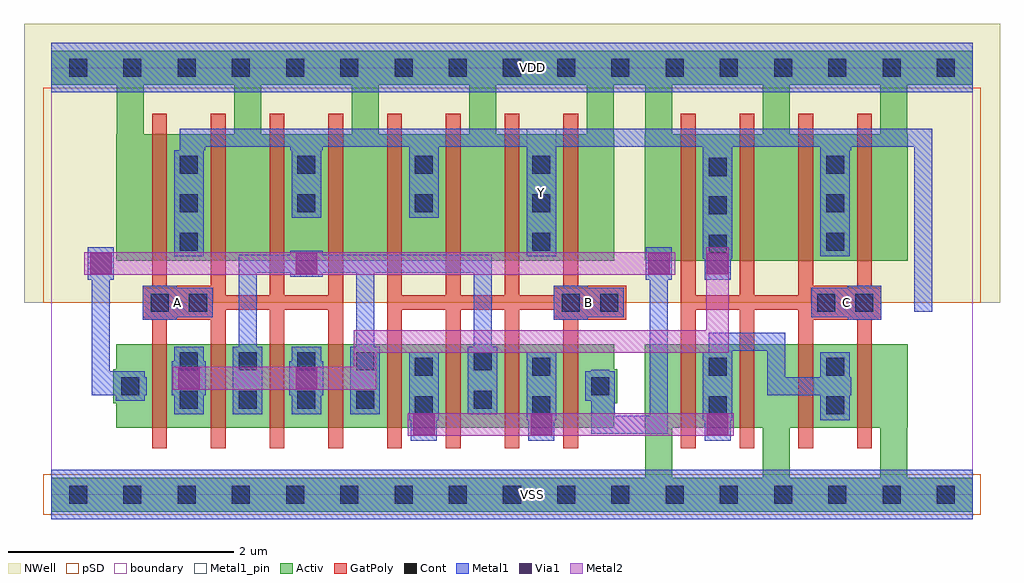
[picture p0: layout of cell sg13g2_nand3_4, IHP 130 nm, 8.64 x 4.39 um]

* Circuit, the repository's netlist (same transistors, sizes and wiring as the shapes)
.SUBCKT sg13g2_nand3_4 Y A B C VDD VSS
*.PININFO A:I B:I C:I Y:O VDD:B VSS:B
MP0 Y A VDD VDD sg13_lv_pmos w=4.48u l=130.00n ng=4
MP1 Y B VDD VDD sg13_lv_pmos w=4.48u l=130.00n ng=4
MP2 Y C VDD VDD sg13_lv_pmos w=4.48u l=130.00n ng=4
MN1 net2 B net3 VSS sg13_lv_nmos w=2.96u l=130.00n ng=4
MN2 net3 C VSS VSS sg13_lv_nmos w=2.96u l=130.00n ng=4
MN0 Y A net2 VSS sg13_lv_nmos w=2.96u l=130.00n ng=4
.ENDS

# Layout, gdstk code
import gdstk
lib = gdstk.Library(unit=1e-6, precision=1e-09)
def R(c, l, rs):  # rectangles x0, y0, x1, y1
    for r in rs: c.add(gdstk.rectangle(r[:2], r[2:], *l))
def A(c, l, x, y, w, h, nx, ny, dx, dy):  # array of equal rectangles
    R(c, l, [(x+i*dx, y+j*dy, x+i*dx+w, y+j*dy+h) for i in range(nx) for j in range(ny)])
def P(c, l, *ps):  # polygons
    for p in ps: c.add(gdstk.Polygon(p, *l))
Activ = (1, 0)
GatPoly = (5, 0)
Cont = (6, 0)
Metal1 = (8, 0)
Metal1_pin = (8, 2)
Metal2 = (10, 0)
pSD = (14, 0)
Via1 = (19, 0)
NWell = (31, 0)
boundary = (189, 4)

sg13g2_nand3_4 = lib.new_cell('sg13g2_nand3_4')
P(sg13g2_nand3_4, Activ, [(5.26,0.15),(0,0.15),(0,-0.15),(8.16,-0.15),(8.16,0.15),(5.26,0.15),(5.5,0.15),(5.5,0.59),(6.3,0.59),(6.3,0.15),(6.54,0.15),(6.54,0.59),(7.34,0.59),(7.34,0.15),(7.58,0.15),(7.58,0.59),(7.585,0.59),(7.585,1.33),(5.255,1.33),(5.255,0.59),(5.26,0.59)],
  [(5.5,3.63),(5.5,3.93),(3.94,3.93),(3.94,3.63),(3.94,3.93),(2.9,3.93),(2.9,3.63),(2.9,3.93),(1.86,3.93),(1.86,3.63),(1.86,3.93),(0.82,3.93),(0.82,3.63),(0.82,3.93),(0,3.93),(0,3.63),(0.58,3.63),(0.58,3.19),(0.575,3.19),(0.575,2.07),(0.82,2.07),(0.82,3.63),(1.62,3.63),(1.62,3.19),(0.82,3.19),(0.82,2.07),(1.86,2.07),(1.86,3.63),(2.66,3.63),(2.66,3.19),(1.86,3.19),(1.86,2.07),(2.9,2.07),(2.9,3.63),(3.7,3.63),(3.7,3.19),(2.9,3.19),(2.9,2.07),(3.94,2.07),(3.94,3.63),(4.74,3.63),(4.74,3.19),(3.94,3.19),(3.94,2.07),(4.985,2.07),(4.985,3.19),(4.98,3.19),(4.98,3.63),(5.26,3.63),(5.26,3.19),(5.255,3.19),(5.255,2.07),(5.5,2.07),(7.585,2.07),(7.585,3.19),(5.5,3.19),(5.5,2.07),(5.5,3.63),(6.3,3.63),(6.3,3.19),(6.54,3.19),(6.54,3.63),(7.34,3.63),(7.34,3.19),(7.58,3.19),(7.58,3.63),(8.16,3.63),(8.16,3.93),(5.5,3.93)],
  [(0.55,0.81),(0.575,0.81),(0.575,0.59),(4.985,0.59),(4.985,0.81),(5.01,0.81),(5.01,1.11),(4.985,1.11),(4.985,1.33),(0.575,1.33),(0.575,1.11),(0.55,1.11)])
P(sg13g2_nand3_4, GatPoly, [(0.81,1.55),(0.895,1.55),(0.895,0.41),(1.025,0.41),(1.025,1.55),(1.415,1.55),(1.415,0.41),(1.545,0.41),(1.545,1.635),(1.935,1.635),(1.935,0.41),(2.065,0.41),(2.065,1.635),(2.455,1.635),(2.455,0.41),(2.585,0.41),(2.585,3.37),(2.455,3.37),(2.455,1.765),(2.065,1.765),(2.065,3.37),(1.935,3.37),(1.935,1.765),(1.545,1.765),(1.545,3.37),(1.415,3.37),(1.415,1.85),(1.025,1.85),(1.025,3.37),(0.895,3.37),(0.895,1.85),(0.81,1.85)],
  [(2.975,0.41),(3.105,0.41),(3.105,1.635),(3.495,1.635),(3.495,0.41),(3.625,0.41),(3.625,1.635),(4.015,1.635),(4.015,0.41),(4.145,0.41),(4.145,1.635),(4.45,1.635),(4.45,1.55),(4.535,1.55),(4.535,0.41),(4.665,0.41),(4.665,1.55),(5.09,1.55),(5.09,1.85),(4.665,1.85),(4.665,3.37),(4.535,3.37),(4.535,1.85),(4.45,1.85),(4.45,1.765),(4.145,1.765),(4.145,3.37),(4.015,3.37),(4.015,1.765),(3.625,1.765),(3.625,3.37),(3.495,3.37),(3.495,1.765),(3.105,1.765),(3.105,3.37),(2.975,3.37)],
  [(5.575,0.41),(5.705,0.41),(5.705,1.635),(6.095,1.635),(6.095,0.41),(6.225,0.41),(6.225,1.635),(6.615,1.635),(6.615,0.41),(6.745,0.41),(6.745,1.55),(7.135,1.55),(7.135,0.41),(7.265,0.41),(7.265,1.55),(7.35,1.55),(7.35,1.85),(7.265,1.85),(7.265,3.37),(7.135,3.37),(7.135,1.85),(6.745,1.85),(6.745,3.37),(6.615,3.37),(6.615,1.765),(6.225,1.765),(6.225,3.37),(6.095,3.37),(6.095,1.765),(5.705,1.765),(5.705,3.37),(5.575,3.37)])
A(sg13g2_nand3_4, Cont, 0.16, -0.08, 0.16, 0.16, 17, 2, 0.48, 3.78)
A(sg13g2_nand3_4, Cont, 1.14, 0.76, 0.16, 0.16, 4, 2, 0.52, 0.34)
A(sg13g2_nand3_4, Cont, 5.82, 2.14, 0.16, 0.16, 1, 3, 0, 0.34)
A(sg13g2_nand3_4, Cont, 6.86, 2.16, 0.16, 0.16, 1, 3, 0, 0.34)
A(sg13g2_nand3_4, Cont, 1.14, 2.5, 0.16, 0.16, 4, 2, 1.04, 0.34)
R(sg13g2_nand3_4, Cont, [(3.22,0.71,3.38,0.87), (4.26,0.71,4.42,0.87), (5.82,0.71,5.98,0.87), (6.86,0.71,7.02,0.87), (3.74,0.76,3.9,0.92), (0.62,0.88,0.78,1.04), (4.78,0.88,4.94,1.04), (3.22,1.05,3.38,1.21), (4.26,1.05,4.42,1.21), (5.82,1.05,5.98,1.21), (6.86,1.05,7.02,1.21), (3.74,1.1,3.9,1.26), (0.88,1.62,1.04,1.78), (1.22,1.62,1.38,1.78), (4.52,1.62,4.68,1.78), (4.86,1.62,5.02,1.78), (6.78,1.62,6.94,1.78), (7.12,1.62,7.28,1.78), (1.14,2.16,1.3,2.32), (4.26,2.16,4.42,2.32)])
R(sg13g2_nand3_4, Metal1, [(0,-0.22,8.16,0.22), (0,3.56,8.16,4)])
P(sg13g2_nand3_4, Metal1, [(0.325,1.9),(0.36,1.9),(0.36,0.88),(0.57,0.88),(0.57,0.83),(0.83,0.83),(0.83,0.88),(0.845,0.88),(0.845,1.04),(0.83,1.04),(0.83,1.09),(0.52,1.09),(0.52,1.9),(0.555,1.9),(0.555,2.19),(0.325,2.19)],
  [(0.81,1.55),(1.11,1.55),(1.11,1.57),(1.43,1.57),(1.43,1.83),(1.11,1.83),(1.11,1.85),(0.81,1.85)],
  [(1.07,0.88),(1.09,0.88),(1.09,0.71),(1.35,0.71),(1.35,0.88),(1.37,0.88),(1.37,1.18),(1.35,1.18),(1.35,1.31),(1.09,1.31),(1.09,1.18),(1.07,1.18)],
  [(1.09,2.11),(1.35,2.11),(1.35,3.05),(1.365,3.05),(1.365,3.08),(2.115,3.08),(2.115,3.05),(2.13,3.05),(2.13,2.45),(2.39,2.45),(2.39,3.05),(2.405,3.05),(2.405,3.08),(3.17,3.08),(3.17,2.45),(3.43,2.45),(3.43,3.08),(4.21,3.08),(4.21,2.11),(4.47,2.11),(4.47,3.08),(5.77,3.08),(5.77,2.09),(5.785,2.09),(5.785,1.9),(6.015,1.9),(6.015,2.09),(6.03,2.09),(6.03,3.08),(6.81,3.08),(6.81,2.11),(7.07,2.11),(7.07,3.05),(7.085,3.05),(7.085,3.08),(7.64,3.08),(7.64,1.62),(7.8,1.62),(7.8,3.24),(1.14,3.24),(1.14,3.05),(1.09,3.05)],
  [(1.61,0.71),(1.87,0.71),(1.87,1.31),(1.82,1.31),(1.82,1.965),(2.115,1.965),(2.115,1.93),(2.405,1.93),(2.405,1.965),(2.7,1.965),(2.7,1.31),(2.65,1.31),(2.65,0.71),(2.91,0.71),(2.91,1.31),(2.86,1.31),(2.86,1.965),(3.74,1.965),(3.74,1.31),(3.69,1.31),(3.69,0.71),(3.95,0.71),(3.95,1.31),(3.9,1.31),(3.9,2.125),(2.405,2.125),(2.405,2.16),(2.115,2.16),(2.115,2.125),(1.66,2.125),(1.66,1.31),(1.61,1.31)],
  [(2.11,0.88),(2.13,0.88),(2.13,0.71),(2.39,0.71),(2.39,0.88),(2.41,0.88),(2.41,1.18),(2.39,1.18),(2.39,1.31),(2.13,1.31),(2.13,1.18),(2.11,1.18)],
  [(3.17,0.66),(3.185,0.66),(3.185,0.475),(3.415,0.475),(3.415,0.66),(3.43,0.66),(3.43,1.26),(3.17,1.26)],
  [(4.21,0.66),(4.225,0.66),(4.225,0.475),(4.455,0.475),(4.455,0.66),(4.47,0.66),(4.47,1.26),(4.21,1.26)],
  [(4.45,1.55),(4.75,1.55),(4.75,1.57),(5.07,1.57),(5.07,1.83),(4.75,1.83),(4.75,1.85),(4.45,1.85)],
  [(4.73,0.83),(4.78,0.83),(4.78,0.54),(5.46,0.54),(5.46,1.9),(5.495,1.9),(5.495,2.19),(5.265,2.19),(5.265,1.9),(5.3,1.9),(5.3,0.7),(4.99,0.7),(4.99,1.09),(4.94,1.09),(4.94,1.105),(4.78,1.105),(4.78,1.09),(4.73,1.09)],
  [(5.77,0.66),(5.785,0.66),(5.785,0.475),(6.015,0.475),(6.015,0.66),(6.03,0.66),(6.03,1.275),(6.34,1.275),(6.34,0.88),(6.81,0.88),(6.81,0.66),(7.07,0.66),(7.07,0.88),(7.085,0.88),(7.085,1.04),(7.07,1.04),(7.07,1.26),(6.81,1.26),(6.81,1.04),(6.5,1.04),(6.5,1.435),(5.82,1.435),(5.82,1.26),(5.77,1.26)],
  [(6.73,1.57),(7.05,1.57),(7.05,1.55),(7.35,1.55),(7.35,1.85),(7.05,1.85),(7.05,1.83),(6.73,1.83)])
R(sg13g2_nand3_4, Metal1_pin, [(0,-0.22,8.16,0.22), (0.81,1.57,1.43,1.83), (4.45,1.57,5.07,1.83), (6.73,1.57,7.35,1.83), (4.21,2.11,4.47,3.24), (0,3.56,8.16,4)])
R(sg13g2_nand3_4, Metal2, [(3.155,0.52,6.045,0.72), (0.295,1.945,5.525,2.145)])
P(sg13g2_nand3_4, Metal2, [(1.075,0.93),(2.88,0.93),(2.88,1.255),(6,1.255),(6,2.19),(5.8,2.19),(5.8,1.455),(2.68,1.455),(2.68,1.13),(1.075,1.13)])
R(sg13g2_nand3_4, pSD, [(-0.07,-0.18,8.23,0.18), (-0.07,1.7,8.23,3.6)])
R(sg13g2_nand3_4, Via1, [(3.205,0.525,3.395,0.715), (4.245,0.525,4.435,0.715), (5.805,0.525,5.995,0.715), (1.125,0.935,1.315,1.125), (2.165,0.935,2.355,1.125), (0.345,1.95,0.535,2.14), (2.165,1.95,2.355,2.14), (5.285,1.95,5.475,2.14), (5.805,1.95,5.995,2.14)])
R(sg13g2_nand3_4, NWell, [(-0.24,1.7,8.4,4.17)])
R(sg13g2_nand3_4, boundary, [(0,0,8.16,3.78)])
sg13g2_nand3_4.add(gdstk.Label('A', (1.12,1.7), layer=8, texttype=25))
sg13g2_nand3_4.add(gdstk.Label('Y', (4.34,2.675), layer=8, texttype=25))
sg13g2_nand3_4.add(gdstk.Label('B', (4.76,1.7), layer=8, texttype=25))
sg13g2_nand3_4.add(gdstk.Label('C', (7.04,1.7), layer=8, texttype=25))
sg13g2_nand3_4.add(gdstk.Label('VSS', (4.26,0), layer=8, texttype=25))
sg13g2_nand3_4.add(gdstk.Label('VDD', (4.26,3.78), layer=8, texttype=25))

lib.write_gds('sg13g2_nand3_4.gds')
